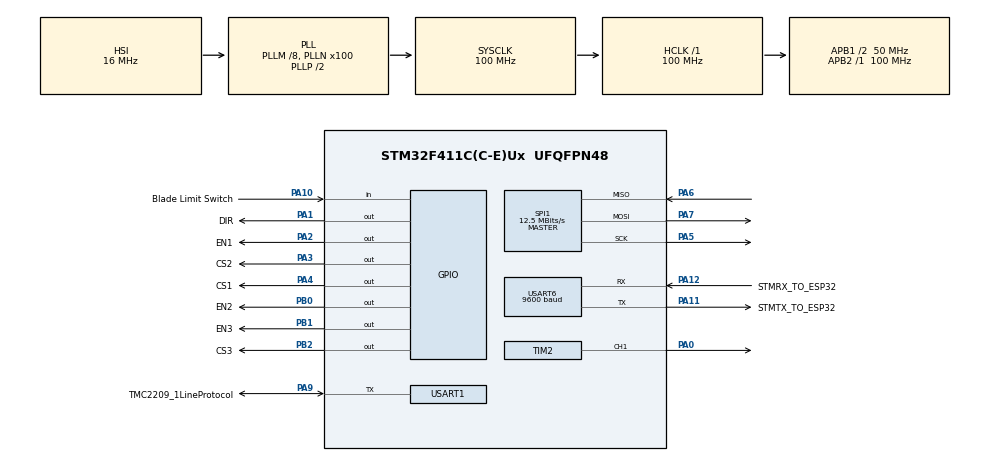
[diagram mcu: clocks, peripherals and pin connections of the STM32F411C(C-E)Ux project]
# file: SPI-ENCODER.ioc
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Mcu.Family=STM32F4
Mcu.Name=STM32F411C(C-E)Ux
Mcu.Package=UFQFPN48
NVIC.PriorityGroup=NVIC_PRIORITYGROUP_4
NVIC.TIM1_UP_TIM10_IRQn=true\:0\:0\:false\:false\:true\:true\:true\:true
NVIC.USART6_IRQn=true\:0\:0\:false\:false\:true\:true\:true\:true
PA0-WKUP.Signal=S_TIM2_CH1_ETR
PA1.GPIO_Label=DIR
PA1.GPIO_Speed=GPIO_SPEED_FREQ_HIGH
PA1.PinState=GPIO_PIN_SET
PA1.Signal=GPIO_Output
<<<<<<< HEAD
PA10.GPIO_Label=Limit Switch
=======
PA10.GPIO_Label=Blade Limit Switch
>>>>>>> cb64468c157c2692403ceb5eeb9bd4f485d256ad
PA10.GPIO_PuPd=GPIO_PULLUP
PA10.Signal=GPIO_Input
PA11.GPIO_Label=STMTX_TO_ESP32
PA11.Mode=Multiprocessor_communication
PA11.Signal=USART6_TX
PA12.GPIO_Label=STMRX_TO_ESP32
PA12.Mode=Multiprocessor_communication
PA12.Signal=USART6_RX
PA2.GPIO_Label=EN1
PA2.PinState=GPIO_PIN_SET
PA2.Signal=GPIO_Output
PA3.GPIO_Label=CS2
PA3.GPIO_Speed=GPIO_SPEED_FREQ_HIGH
PA3.PinState=GPIO_PIN_SET
PA3.Signal=GPIO_Output
PA4.GPIO_Label=CS1
PA4.GPIO_Speed=GPIO_SPEED_FREQ_HIGH
PA4.PinState=GPIO_PIN_SET
PA4.Signal=GPIO_Output
PA5.Mode=Full_Duplex_Master
PA5.Signal=SPI1_SCK
PA6.Mode=Full_Duplex_Master
PA6.Signal=SPI1_MISO
PA7.Mode=Full_Duplex_Master
PA7.Signal=SPI1_MOSI
PA9.GPIO_Label=TMC2209_1LineProtocol
PA9.GPIO_PuPd=GPIO_PULLUP
PA9.Mode=Half_duplex(single_wire_mode)
PA9.Signal=USART1_TX
PB0.GPIO_Label=EN2
PB0.PinState=GPIO_PIN_SET
PB0.Signal=GPIO_Output
PB1.GPIO_Label=EN3
PB1.PinState=GPIO_PIN_SET
PB1.Signal=GPIO_Output
PB2.GPIO_Label=CS3
PB2.GPIO_Speed=GPIO_SPEED_FREQ_HIGH
PB2.PinState=GPIO_PIN_SET
PB2.Signal=GPIO_Output
PH0\ -\ OSC_IN.Mode=HSE-External-Oscillator
PH0\ -\ OSC_IN.Signal=RCC_OSC_IN
PH1\ -\ OSC_OUT.Mode=HSE-External-Oscillator
PH1\ -\ OSC_OUT.Signal=RCC_OSC_OUT
ProjectManager.HeapSize=0x200
ProjectManager.StackSize=0x400
ProjectManager.TargetToolchain=STM32CubeIDE
RCC.48MHZClocksFreq_Value=50000000
RCC.AHBFreq_Value=100000000
RCC.APB1CLKDivider=RCC_HCLK_DIV2
RCC.APB1Freq_Value=50000000
RCC.APB1TimFreq_Value=100000000
RCC.APB2Freq_Value=100000000
RCC.APB2TimFreq_Value=100000000
RCC.CortexFreq_Value=100000000
RCC.HCLKFreq_Value=100000000
RCC.HSE_VALUE=25000000
RCC.HSI_VALUE=16000000
RCC.LSE_VALUE=32768
RCC.PLLM=8
RCC.PLLN=100
RCC.SYSCLKFreq_VALUE=100000000
RCC.SYSCLKSource=RCC_SYSCLKSOURCE_PLLCLK
RCC.VCOOutputFreq_Value=200000000
SH.S_TIM2_CH1_ETR.0=TIM2_CH1,PWM Generation1 CH1
SPI1.BaudRatePrescaler=SPI_BAUDRATEPRESCALER_8
SPI1.CLKPhase=SPI_PHASE_2EDGE
SPI1.CLKPolarity=SPI_POLARITY_HIGH
SPI1.CalculateBaudRate=12.5 MBits/s
SPI1.Direction=SPI_DIRECTION_2LINES
SPI1.Mode=SPI_MODE_MASTER
SPI1.VirtualType=VM_MASTER
TIM1.AutoReloadPreload=TIM_AUTORELOAD_PRELOAD_ENABLE
TIM1.Period=999
TIM1.Prescaler=99
TIM2.AutoReloadPreload=TIM_AUTORELOAD_PRELOAD_ENABLE
TIM2.Channel-PWM\ Generation1\ CH1=TIM_CHANNEL_1
TIM2.Period=65535
TIM2.Prescaler=99
USART1.VirtualMode=VM_ASYNC
USART6.BaudRate=9600
USART6.VirtualMode=VM_ASYNC
VP_TIM1_VS_ClockSourceINT.Mode=Internal
board=custom

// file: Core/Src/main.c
/* USER CODE BEGIN Header */
/**
  ******************************************************************************
  * @file           : main.c
  * @brief          : Main program body
  ******************************************************************************
  * @attention
  *
  * Copyright (c) 2026 STMicroelectronics.
  * All rights reserved.
  *
  * This software is licensed under terms that can be found in the LICENSE file
  * in the root directory of this software component.
  * If no LICENSE file comes with this software, it is provided AS-IS.
  *
  ******************************************************************************
  */
/* USER CODE END Header */
#include "main.h"
#include "spi.h"
#include "tim.h"
#include "usart.h"
#include "gpio.h"

/* USER CODE BEGIN Includes */
#include "PID.h"
#include "tmc2209.h"
#include "mt6816.h"
#include <math.h>
#include <stdbool.h>
#include <string.h>
#include <stdio.h>
#include <stdlib.h>
/* USER CODE END Includes */

/* USER CODE BEGIN PD */
<<<<<<< HEAD
#define WITHESP 0u
=======
/* TIM1: 100 MHz / (99+1) / (999+1) = 1 kHz control loop */
#define CONTROL_LOOP_HZ     1000.0f
#define CONTROL_LOOP_DT     (1.0f / CONTROL_LOOP_HZ)

/* TIM2 counts at 100 MHz / (99+1) = 1 MHz, so ARR = 1e6/step_freq - 1 */
#define STEP_TIMER_HZ       1000000U
#define STEP_FREQ_MAX       7500U    /* Upper step rate the mechanics tolerate */
#define STEP_FREQ_MIN       10U      /* Below this the motor is treated as stopped */
#define STEP_FREQ_HOMING    2000U    /* Open-loop speed while seeking a limit switch */

/* Motion tolerances */
/* Smallest error the step generator can still act on: below STEP_FREQ_MIN it
 * emits no pulses, so with output = Kp * error that floor sits at
 * STEP_FREQ_MIN / Kp = 10 / 15 = 0.67 deg. The deadband is set just above it
 * and the arrival test just above that, so a move always finishes inside the
 * band the controller has actually parked in. */
#define PID_DEADBAND_DEG    0.70f
#define POS_TOLERANCE_DEG   0.75f    /* Considered "arrived" within this error */
/* A move's allowance has to scale with its length: at STEP_FREQ_MAX the axis
 * covers roughly 844 deg/s, so a flat timeout would fail long feeds purely for
 * being long. The fixed part absorbs acceleration and settling. */
#define MOVE_TIMEOUT_BASE_MS 3000U
#define MOVE_DEG_PER_SEC     844.0f
#define MOVE_TIMEOUT_MS(deg) (MOVE_TIMEOUT_BASE_MS + (uint32_t)((deg) * (3000.0f / MOVE_DEG_PER_SEC)))
#define HOMING_TIMEOUT_MS   15000U   /* Guards against a dead or miswired switch */
#define DRIVER_WAKE_MS      2U       /* TMC2209 settle time after its EN goes low */

/* --- Blade geometry -------------------------------------------------------
 * PLACEHOLDER VALUES - these must be measured on the real machine before the
 * blade is allowed near a wire. Zero is the top (home) position and the blade
 * travels DOWN in the positive direction.
 *
 * Stripping only cuts through the insulation, so its depth is deliberately
 * shallower than a full cut. See TUNING.md for the measuring procedure.        */
#define BLADE_CUT_DEG       180.0f   /* Depth that severs the conductor */
#define BLADE_STRIP_DEG     120.0f   /* Depth that scores insulation only */
#define BLADE_RETRACT_DEG   0.0f     /* Fully retracted = the homed origin */
#define BLADE_SETTLE_MS     150U     /* Dwell at depth before retracting */

/* Wire pull-back after the head strip, so the jaws grip fresh insulation. */
#define STRIP_PULL_MM       8.0f

/* DIR polarity for a positive (increasing-position) move. Both axes share one
 * DIR line, so each names its own sense rather than assuming a common one.
 *   Rollers: HIGH turns counter-clockwise, pulling the wire in.
 *   Blade:   HIGH drives the blade down (positive = deeper). */
#define DIR_ROLLER_FORWARD  GPIO_PIN_SET
#define DIR_BLADE_DOWN      GPIO_PIN_SET
#define DIR_OPPOSITE(d)     (((d) == GPIO_PIN_SET) ? GPIO_PIN_RESET : GPIO_PIN_SET)

/* Motor selection: the rollers share one STEP/DIR pair and are enabled
 * together, while the blade is driven alone on the same pair. */
typedef enum {
    DRIVE_NONE = 0,
    DRIVE_ROLLERS,   /* M1 + M2 enabled together, both follow PA0/PA1 */
    DRIVE_BLADE      /* M3 alone */
} DriveTarget_t;
>>>>>>> cb64468c157c2692403ceb5eeb9bd4f485d256ad
/* USER CODE END PD */

/* USER CODE BEGIN PV */
typedef enum {
    STATE_IDLE,
    STATE_HOMING_BLADE,  /* Blade retracts to its top stop and defines zero */
    STATE_FEEDING,       /* Closed-loop wire advance */
    STATE_STRIP_HEAD,    /* Score the insulation near the leading end */
    STATE_STRIP_TAIL,    /* Score the insulation at the trailing end */
    STATE_CUTTING,       /* Sever the conductor */
    STATE_ERROR
} SystemState_t;

volatile SystemState_t current_state = STATE_IDLE;

/* Job Tracking */
volatile int job_qty = 0;
volatile int current_piece = 0;
volatile float job_length_mm = 0.0f;
volatile float target_angle_deg = 0.0f;
volatile float current_pos_deg = 0.0f;
/* Shaft rotation per millimetre of wire, from the roller's circumference:
 *   360 / (pi * 30 mm) = 3.8197 deg/mm
 * With a NEMA 17 (1.8 deg/step) at 1/16 microstepping the feed resolves to
 * 0.029 mm per microstep, and the MT6816 reads back 0.006 mm per count, so
 * the encoder is finer than the step the motor can take.
 * Re-measure this if the rollers are ever changed - see TUNING.md. */
const float DEG_PER_MM = 3.8197f;

/* Hardware Objects
 * motor_1 / motor_2 are the front and rear feed rollers. They share the STEP
 * and DIR lines and are enabled together, so only the front roller carries an
 * encoder - the rear one mirrors its motion.
 * motor_3 drives the blade and has its own encoder on CS2 (PA3). */
TMC2209_t motor_1, motor_2, motor_3;
MT6816_t encoder_roller, encoder_blade;
PID_Controller_t pid_roller, pid_blade;

volatile DriveTarget_t active_target = DRIVE_NONE;

/* Set while a routine drives the step generator directly (homing). The 1 kHz
 * loop stands down for the duration: it would otherwise fight for the DIR pin
 * and the timer registers, and during homing its position reference is not
 * even valid yet. */
volatile bool open_loop_active = false;
volatile MT6816_Status encoder_status = MT6816_OK;
volatile bool step_pwm_running = false;
volatile uint32_t encoder_error_count = 0;

/* Blade position, tracked continuously by the same 1 kHz loop. */
volatile float blade_target_deg = 0.0f;
volatile float blade_pos_deg = 0.0f;

/* ESP32 UART Buffer */
uint8_t rx_byte;
char rx_buffer[128];
volatile uint8_t rx_index = 0;
volatile bool msg_received = false;

//button
volatile bool buttonstate;
/* USER CODE END PV */

void SystemClock_Config(void);
/* USER CODE BEGIN PFP */
void Control_Loop_1kHz(void);
static void Step_SetFrequency(uint32_t step_freq);
static void Step_Stop(void);
void Select_Drive_Target(DriveTarget_t target);
static bool Wait_For_Move(volatile float *target_deg, volatile float *pos_deg);
static bool Blade_MoveTo(float depth_deg);
static bool Home_Blade(void);
static bool Feed_Wire_mm(float distance_mm);
static bool Blade_Stroke(float depth_deg);
static void Report_State(const char *name);
/* USER CODE END PFP */

/* USER CODE BEGIN 0 */
void Send_ESP32_Msg(const char *msg) {
    HAL_UART_Transmit(&huart6, (uint8_t*)msg, strlen(msg), 100);
}

void HAL_UART_RxCpltCallback(UART_HandleTypeDef *huart) {
    if (huart->Instance == USART6) {
        if (rx_byte == '\n' || rx_byte == '\r') {
            if (rx_index > 0) {
                rx_buffer[rx_index] = '\0';
                msg_received = true;
                rx_index = 0;
            }
        } else if (rx_index < sizeof(rx_buffer) - 1) {
            rx_buffer[rx_index++] = rx_byte;
        }
        HAL_UART_Receive_IT(&huart6, &rx_byte, 1);
    }
}

void HAL_UART_ErrorCallback(UART_HandleTypeDef *huart) {
    if (huart->Instance == USART6) {
        __HAL_UART_CLEAR_OREFLAG(huart);
        HAL_UART_Receive_IT(&huart6, &rx_byte, 1);
    }
}

void Process_ESP32_Message(void) {
    if (strstr(rx_buffer, "\"command\":\"abort\"")) {
        current_state = STATE_IDLE;
        Step_Stop();
        Select_Drive_Target(DRIVE_NONE);
        Send_ESP32_Msg("{\"state\":\"IDLE\"}\n");
    }
    else if (strstr(rx_buffer, "\"quantity\":")) {
        char *ptr_qty = strstr(rx_buffer, "\"quantity\":");
        char *ptr_len = strstr(rx_buffer, "\"total_length\":");
        if (ptr_qty) job_qty = atoi(ptr_qty + 11);
        if (ptr_len) job_length_mm = atof(ptr_len + 15);
        current_piece = 0;
        /* Home the blade before the rollers so it is clear of the wire path. */
        current_state = STATE_HOMING_BLADE;
    }
    msg_received = false;
}

/* Routes the shared STEP/DIR pair to one group of drivers.
 *
 * Both rollers are enabled at once so they receive the identical pulse train
 * and stay mechanically in sync - the wire would stretch or buckle if only one
 * of them turned. The blade is enabled alone because it must move independently
 * of the feed. Enabling everything at once is never valid. */
void Select_Drive_Target(DriveTarget_t target) {
    if (active_target == target) return;

    /* Park the step generator before rerouting it, so no driver picks up a
     * pulse that was meant for another axis. */
    Step_Stop();

    /* Disable all drivers by driving EN pins HIGH (they are active LOW) */
    HAL_GPIO_WritePin(EN1_GPIO_Port, EN1_Pin, GPIO_PIN_SET);
    HAL_GPIO_WritePin(EN2_GPIO_Port, EN2_Pin, GPIO_PIN_SET);
    HAL_GPIO_WritePin(EN3_GPIO_Port, EN3_Pin, GPIO_PIN_SET);

    switch (target) {
        case DRIVE_ROLLERS:
            HAL_GPIO_WritePin(EN1_GPIO_Port, EN1_Pin, GPIO_PIN_RESET);
            HAL_GPIO_WritePin(EN2_GPIO_Port, EN2_Pin, GPIO_PIN_RESET);
            break;
        case DRIVE_BLADE:
            HAL_GPIO_WritePin(EN3_GPIO_Port, EN3_Pin, GPIO_PIN_RESET);
            break;
        case DRIVE_NONE:
        default:
            break;
    }

    active_target = target;

    /* A TMC2209 needs a moment after its enable line drops before it will
     * track step pulses reliably; stepping immediately can lose position. */
    if (target != DRIVE_NONE) HAL_Delay(DRIVER_WAKE_MS);
}
/* USER CODE END 0 */

int main(void)
{

  /* MCU Configuration--------------------------------------------------------*/

  /* Reset of all peripherals, Initializes the Flash interface and the Systick. */
  HAL_Init();

  /* Configure the system clock */
  SystemClock_Config();

  /* Initialize all configured peripherals */
  MX_GPIO_Init();
  MX_SPI1_Init();
  MX_USART1_UART_Init();
  MX_TIM1_Init();
  MX_TIM2_Init();
  MX_USART6_UART_Init();
  /* USER CODE BEGIN 2 */
  /* 1. Encoders: CS1 (PA4) reads the front feed roller, CS2 (PA3) the blade. */
  MT6816_Init(&encoder_roller, &hspi1, CS1_GPIO_Port, CS1_Pin);
  MT6816_Init(&encoder_blade,  &hspi1, CS2_GPIO_Port, CS2_Pin);

  /* 2. Configure all three TMC2209 drivers over the shared single-wire UART.
   * Each has its own node address set by its MS1/MS2 strapping. */
  TMC2209_Init(&motor_1, &huart1, 0);
  TMC2209_Init(&motor_2, &huart1, 1);
  TMC2209_Init(&motor_3, &huart1, 2);

  /* 3. Initialize PID controllers.
   *
   * The deadband must cover every error the step generator cannot act on.
   * Below STEP_FREQ_MIN no pulses are emitted, so any error smaller than
   * STEP_FREQ_MIN/Kp is unactuatable - treating it as zero stops the
   * integrator from charging against an error the motor can never clear. */
  PID_Init(&pid_roller, 15.0f, 0.5f, 0.08f, -20000.0f, 20000.0f);
  PID_Init(&pid_blade,  15.0f, 0.5f, 0.08f, -20000.0f, 20000.0f);
  pid_roller.deadband = PID_DEADBAND_DEG;
  pid_blade.deadband  = PID_DEADBAND_DEG;

  /* 4. The rollers only ever turn - there is no home position to seek - so
   * wherever the shaft sits at power-on becomes zero and every feed is
   * measured relative to it. Seeding the tracker here means the very first
   * feed starts from a known reference instead of a stale one. */
  {
      float raw_deg = 0.0f;
      if (MT6816_ReadDegrees(&encoder_roller, &raw_deg) == MT6816_OK) {
          pid_roller.last_raw_angle_deg    = raw_deg;
          pid_roller.accumulated_angle_deg = 0.0f;
          pid_roller.is_initialized        = true;
          pid_roller.prev_feedback         = 0.0f;
      }
  }

  /* 5. Start 1 kHz Control Loop Timer and UART RX */
  HAL_TIM_Base_Start_IT(&htim1);
  HAL_UART_Receive_IT(&huart6, &rx_byte, 1);

  /* USER CODE END 2 */

  /* Infinite loop */
  /* USER CODE BEGIN WHILE */
  while (1)
  {
#if WITHESP
	  if (msg_received) {
	            Process_ESP32_Message();
	        }

	        switch (current_state) {
	            case STATE_IDLE:
	                break;

<<<<<<< HEAD
	            case STATE_HOMING:
	                Send_ESP32_Msg("{\"state\":\"HOMING\"}\n");
	                active_motor_id = 1;
	                Select_Active_Motor(1);

	                /* Run open-loop towards the limit switch */
	                HAL_GPIO_WritePin(GPIOA, GPIO_PIN_1, GPIO_PIN_RESET);
	                TIM2->ARR = (1000000U / 2000) - 1U;
	                TIM2->CCR1 = TIM2->ARR / 2;
	                HAL_TIM_PWM_Start(&htim2, TIM_CHANNEL_1);

	                /* Wait until limit switch on PA10 triggers (Active LOW) */
	                while (HAL_GPIO_ReadPin(GPIOA, GPIO_PIN_10) == GPIO_PIN_RESET) {
	                    if (msg_received) {
	                        Process_ESP32_Message();
	                        break;
	                    }
=======
	            /* Blade is homed first: it must be clear of the wire path
	             * before any wire is pushed through. */
	            case STATE_HOMING_BLADE:
	                if (Home_Blade()) {
	                    Send_ESP32_Msg("{\"state\":\"RUNNING\",\"pg\":0}\n");
	                    current_state = STATE_FEEDING;
>>>>>>> cb64468c157c2692403ceb5eeb9bd4f485d256ad
	                }
	                break;

	            /* One piece: feed -> strip head -> feed -> strip tail -> cut. */
	            case STATE_FEEDING:
	                if (current_piece >= job_qty) {
	                    Send_ESP32_Msg("{\"done\":true}\n");
	                    current_state = STATE_IDLE;
	                    Select_Drive_Target(DRIVE_NONE);
	                    break;
	                }

	                /* Present the leading end to the blade. */
	                if (!Feed_Wire_mm(STRIP_PULL_MM)) break;
	                current_state = STATE_STRIP_HEAD;
	                break;

	            case STATE_STRIP_HEAD:
	                Report_State("STRIP_HEAD");
	                if (!Blade_Stroke(BLADE_STRIP_DEG)) break;

	                /* Advance the full piece length before the tail strip. */
	                if (!Feed_Wire_mm(job_length_mm)) break;
	                current_state = STATE_STRIP_TAIL;
	                break;

	            case STATE_STRIP_TAIL:
	                Report_State("STRIP_TAIL");
	                if (!Blade_Stroke(BLADE_STRIP_DEG)) break;
	                current_state = STATE_CUTTING;
	                break;

	            case STATE_CUTTING:
	                Report_State("CUTTING");
	                if (!Blade_Stroke(BLADE_CUT_DEG)) break;

	                current_piece++;
	                char pg_msg[32];
	                snprintf(pg_msg, sizeof(pg_msg), "{\"pg\":%d}\n", current_piece);
	                Send_ESP32_Msg(pg_msg);

	                current_state = STATE_FEEDING;
	                break;

	            case STATE_ERROR:
	                Step_Stop();
	                Select_Drive_Target(DRIVE_NONE);
	                Send_ESP32_Msg("{\"error\":\"motion fault - check wire path and limit switches\"}\n");
	                current_state = STATE_IDLE;
	                break;
	        }
#endif

	        			HAL_GPIO_WritePin(DIR_GPIO_Port, DIR_Pin, 1),
	        buttonstate = HAL_GPIO_ReadPin(Limit_Switch_GPIO_Port, Limit_Switch_Pin);
	        	        Select_Active_Motor(1);
	        	        /* TIM2 clock after prescaler is 1 MHz */
	        	        uint32_t arr_val = (1000000U / 2000) - 1U;

	        	        __HAL_TIM_SET_AUTORELOAD(&htim2, arr_val);
	        	        __HAL_TIM_SET_COMPARE(&htim2, TIM_CHANNEL_1, (arr_val + 1U) / 2U);

	        	        HAL_TIM_PWM_Start(&htim2, TIM_CHANNEL_1);
	        	        HAL_Delay(5000);
	        	        HAL_TIM_PWM_Stop(&htim2, TIM_CHANNEL_1);
	        	        Select_Active_Motor(2);
	        	        HAL_TIM_PWM_Start(&htim2, TIM_CHANNEL_1);
	        	        HAL_Delay(5000);
	        	        HAL_TIM_PWM_Stop(&htim2, TIM_CHANNEL_1);

    /* USER CODE END WHILE */

  }
}

void SystemClock_Config(void)
{
  RCC_OscInitTypeDef RCC_OscInitStruct = {0};
  RCC_ClkInitTypeDef RCC_ClkInitStruct = {0};

  /** Configure the main internal regulator output voltage
  */
  __HAL_RCC_PWR_CLK_ENABLE();
  __HAL_PWR_VOLTAGESCALING_CONFIG(PWR_REGULATOR_VOLTAGE_SCALE1);

  /** Initializes the RCC Oscillators according to the specified parameters
  * in the RCC_OscInitTypeDef structure.
  */
  RCC_OscInitStruct.OscillatorType = RCC_OSCILLATORTYPE_HSI;
  RCC_OscInitStruct.HSIState = RCC_HSI_ON;
  RCC_OscInitStruct.HSICalibrationValue = RCC_HSICALIBRATION_DEFAULT;
  RCC_OscInitStruct.PLL.PLLState = RCC_PLL_ON;
  RCC_OscInitStruct.PLL.PLLSource = RCC_PLLSOURCE_HSI;
  RCC_OscInitStruct.PLL.PLLM = 8;
  RCC_OscInitStruct.PLL.PLLN = 100;
  RCC_OscInitStruct.PLL.PLLP = RCC_PLLP_DIV2;
  RCC_OscInitStruct.PLL.PLLQ = 4;
  if (HAL_RCC_OscConfig(&RCC_OscInitStruct) != HAL_OK)
  {
    Error_Handler();
  }

  /** Initializes the CPU, AHB and APB buses clocks
  */
  RCC_ClkInitStruct.ClockType = RCC_CLOCKTYPE_HCLK|RCC_CLOCKTYPE_SYSCLK
                              |RCC_CLOCKTYPE_PCLK1|RCC_CLOCKTYPE_PCLK2;
  RCC_ClkInitStruct.SYSCLKSource = RCC_SYSCLKSOURCE_PLLCLK;
  RCC_ClkInitStruct.AHBCLKDivider = RCC_SYSCLK_DIV1;
  RCC_ClkInitStruct.APB1CLKDivider = RCC_HCLK_DIV2;
  RCC_ClkInitStruct.APB2CLKDivider = RCC_HCLK_DIV1;

  if (HAL_RCC_ClockConfig(&RCC_ClkInitStruct, FLASH_LATENCY_3) != HAL_OK)
  {
    Error_Handler();
  }
}

/* USER CODE BEGIN 4 */
<<<<<<< HEAD
#if WITHESP
void HAL_TIM_PeriodElapsedCallback(TIM_HandleTypeDef *htim)
{
    if (htim->Instance == TIM1) {
        /* Suspend PID control during Homing and Idle states */

    	if (current_state != STATE_FEEDING && current_state != STATE_CUTTING) {
            return;
        }

        float raw_deg = 0.0f;
        float step_velocity = 0.0f;

        if (active_motor_id == 1) {
            encoder_status = MT6816_ReadDegrees(&encoder_1, &raw_deg);
            if (encoder_status == MT6816_OK) {
                current_pos_deg = PID_UnwrapAngle(&pid_1, raw_deg);
                step_velocity = PID_Update(&pid_1, target_angle_deg, current_pos_deg, 0.001f);
            }
        } else if (active_motor_id == 2) {
            encoder_status = MT6816_ReadDegrees(&encoder_2, &raw_deg);
            if (encoder_status == MT6816_OK) {
                current_pos_deg = PID_UnwrapAngle(&pid_2, raw_deg);
                step_velocity = PID_Update(&pid_2, target_angle_deg, current_pos_deg, 0.001f);
            }
        }

        /* Deadband stop */
        if (fabsf(step_velocity) < 10.0f || encoder_status != MT6816_OK) {
            HAL_TIM_PWM_Stop(&htim2, TIM_CHANNEL_1);
            return;
        }

        /* Direction logic: RESET = forward positive feedback correction */
        if (step_velocity > 0) {
            HAL_GPIO_WritePin(GPIOA, GPIO_PIN_1, GPIO_PIN_RESET);
        } else {
            HAL_GPIO_WritePin(GPIOA, GPIO_PIN_1, GPIO_PIN_SET);
        }

        /* Map velocity to ARR frequency */
        uint32_t step_freq = (uint32_t)fabsf(step_velocity);
        if (step_freq > 7500) step_freq = 7500;

        uint32_t arr_val = (1000000U / step_freq) - 1U;

        __HAL_TIM_SET_AUTORELOAD(&htim2, arr_val);
        __HAL_TIM_SET_COMPARE(&htim2, TIM_CHANNEL_1, (arr_val + 1U) / 2U);

        HAL_TIM_PWM_Start(&htim2, TIM_CHANNEL_1);
    }
}
#endif
=======

/* --- Step generator helpers (TIM2 CH1) ------------------------------------ */

/* Sets the STEP pulse train frequency. The PWM peripheral is only started once
 * and then re-tuned in place; restarting it every loop would truncate pulses. */
static void Step_SetFrequency(uint32_t step_freq)
{
    if (step_freq > STEP_FREQ_MAX) step_freq = STEP_FREQ_MAX;
    if (step_freq < STEP_FREQ_MIN) step_freq = STEP_FREQ_MIN;

    uint32_t arr_val = (STEP_TIMER_HZ / step_freq) - 1U;
    if (arr_val > 65535U) arr_val = 65535U;
    if (arr_val < 2U)     arr_val = 2U;

    /* ARR and CCR1 are both preloaded (ARPE is enabled in MX_TIM2_Init, and
     * HAL_TIM_PWM_ConfigChannel sets OC1PE), so these two writes land in
     * shadow registers and take effect together at the next update event.
     *
     * That pairing is the point. With ARR unbuffered and CCR1 buffered - the
     * CubeMX default - the two would apply one cycle apart: shrinking ARR
     * takes effect immediately while the old, now-larger CCR1 stays live for
     * one more period, so the compare never fires and the output sits HIGH
     * for a whole cycle. The driver sees no rising edge and silently drops
     * that step. Letting the hardware swap both at once also means the pulse
     * currently in flight finishes intact, so no step is ever truncated.
     *
     * The cost is that a change waits out the current period - at the speeds
     * the machine actually runs (>= 500 Hz) that is under 2 ms, well inside
     * the control loop's tolerance. */
    TIM2->ARR  = arr_val;
    TIM2->CCR1 = arr_val / 2U;   /* 50 % duty */

    if (!step_pwm_running) {
        /* Nothing is running, so there is no in-flight pulse to protect and
         * no update event coming to load the shadow registers. Generate one
         * by hand so the first pulse uses this frequency instead of whatever
         * the previous move left in the active registers. */
        TIM2->EGR = TIM_EGR_UG;
        HAL_TIM_PWM_Start(&htim2, TIM_CHANNEL_1);
        step_pwm_running = true;
    }
}

static void Step_Stop(void)
{
    if (step_pwm_running) {
        HAL_TIM_PWM_Stop(&htim2, TIM_CHANNEL_1);
        step_pwm_running = false;
    }
}

/* --- 1 kHz closed-loop control -------------------------------------------- */

/* Runs once per TIM1 update event (1 kHz). Reads the encoder belonging to
 * whichever axis currently owns the STEP/DIR pair, updates its PID controller
 * and converts the result into a step frequency.
 *
 * Only one axis is ever live: the rollers move together as one unit, or the
 * blade moves alone. The axis that is not selected has its driver disabled and
 * simply holds position. */
void Control_Loop_1kHz(void)
{
    /* An open-loop routine owns the step generator right now. */
    if (open_loop_active) return;

    MT6816_t         *encoder;
    PID_Controller_t *pid;
    volatile float   *pos_out;
    float             setpoint;
    GPIO_PinState     dir_positive;

    switch (active_target) {
        case DRIVE_ROLLERS:
            encoder      = &encoder_roller;
            pid          = &pid_roller;
            pos_out      = &current_pos_deg;
            setpoint     = target_angle_deg;
            dir_positive = DIR_ROLLER_FORWARD;
            break;

        case DRIVE_BLADE:
            encoder      = &encoder_blade;
            pid          = &pid_blade;
            pos_out      = &blade_pos_deg;
            setpoint     = blade_target_deg;
            dir_positive = DIR_BLADE_DOWN;
            break;

        default:
            /* Nothing selected (idle, or homing runs open-loop). */
            return;
    }

    float raw_deg = 0.0f;
    encoder_status = MT6816_ReadDegrees(encoder, &raw_deg);

    if (encoder_status != MT6816_OK) {
        /* Never keep stepping blind: a bad read means the position is unknown. */
        Step_Stop();
        if (++encoder_error_count > 50) {   /* 50 ms of continuous failure */
            current_state = STATE_ERROR;
        }
        return;
    }
    encoder_error_count = 0;

    *pos_out = PID_UnwrapAngle(pid, raw_deg);
    float step_velocity = PID_Update(pid, setpoint, *pos_out, CONTROL_LOOP_DT);

    uint32_t step_freq = (uint32_t)fabsf(step_velocity);

    /* Deadband stop: below the minimum step rate the motor just holds. */
    if (step_freq < STEP_FREQ_MIN) {
        Step_Stop();
        return;
    }

    /* A positive output means "increase position", which is forward for the
     * rollers and downward for the blade. */
    HAL_GPIO_WritePin(DIR_GPIO_Port, DIR_Pin,
                      (step_velocity > 0.0f) ? dir_positive
                                             : DIR_OPPOSITE(dir_positive));

    Step_SetFrequency(step_freq);
}

void HAL_TIM_PeriodElapsedCallback(TIM_HandleTypeDef *htim)
{
    if (htim->Instance == TIM1) {
        Control_Loop_1kHz();
    }
}

/* --- Motion sequencing helpers -------------------------------------------- */

static void Report_State(const char *name)
{
    char msg[48];
    snprintf(msg, sizeof(msg), "{\"state\":\"%s\"}\n", name);
    Send_ESP32_Msg(msg);
}

/* Blocks until the closed-loop axis settles on its target, an abort arrives,
 * or the move overruns. Returns false if the move did not complete. */
static bool Wait_For_Move(volatile float *target_deg, volatile float *pos_deg)
{
    uint32_t start_time = HAL_GetTick();
    uint32_t timeout_ms = MOVE_TIMEOUT_MS(fabsf(*target_deg - *pos_deg));

    while (fabsf(*target_deg - *pos_deg) > POS_TOLERANCE_DEG) {
        if (msg_received) {
            Process_ESP32_Message();
            if (current_state == STATE_IDLE) return false;   /* aborted */
        }
        if (current_state == STATE_ERROR) return false;      /* raised by the ISR */
        if (HAL_GetTick() - start_time > timeout_ms) {
            current_state = STATE_ERROR;
            return false;
        }
    }
    return true;
}

/* Drives the blade to an absolute depth measured from the homed top position. */
static bool Blade_MoveTo(float depth_deg)
{
    Select_Drive_Target(DRIVE_BLADE);
    blade_target_deg = depth_deg;
    PID_SetTarget(&pid_blade, depth_deg);
    return Wait_For_Move(&blade_target_deg, &blade_pos_deg);
}

/* Retracts the blade open-loop until it presses its top limit switch (PA10),
 * then declares that point to be zero. Homing must run open-loop because the
 * absolute position is unknown until the switch is found.
 *
 * This is the only homing the machine does: the feed rollers have no reference
 * position, they simply turn, and their count is relative to power-on. */
static bool Home_Blade(void)
{
    Report_State("HOMING_BLADE");
    Select_Drive_Target(DRIVE_BLADE);

    /* Take the step generator before the first write: the blade's zero is not
     * established yet, so the closed loop has nothing meaningful to track. */
    open_loop_active = true;

    /* Retracting is the opposite of the blade's downward direction. */
    HAL_GPIO_WritePin(DIR_GPIO_Port, DIR_Pin, DIR_OPPOSITE(DIR_BLADE_DOWN));
    Step_SetFrequency(STEP_FREQ_HOMING);

    uint32_t start_time = HAL_GetTick();
    while (HAL_GPIO_ReadPin(Blade_Limit_GPIO_Port, Blade_Limit_Pin) == GPIO_PIN_SET) {
        if (msg_received) {
            Process_ESP32_Message();
            if (current_state == STATE_IDLE) {
                Step_Stop();
                open_loop_active = false;
                return false;
            }
        }
        /* A switch that never closes would otherwise drive the blade into its
         * end stop forever. */
        if (HAL_GetTick() - start_time > HOMING_TIMEOUT_MS) {
            Step_Stop();
            open_loop_active = false;
            current_state = STATE_ERROR;
            return false;
        }
    }
    Step_Stop();
    HAL_Delay(200);   /* Let the mechanism stop ringing before sampling */

    float raw_deg = 0.0f;
    if (MT6816_ReadDegrees(&encoder_blade, &raw_deg) != MT6816_OK) {
        open_loop_active = false;
        current_state = STATE_ERROR;
        return false;
    }

    /* Define this point as zero without disturbing the multi-turn tracking. */
    PID_Reset(&pid_blade);
    pid_blade.last_raw_angle_deg   = raw_deg;
    pid_blade.accumulated_angle_deg = 0.0f;
    pid_blade.is_initialized       = true;
    pid_blade.prev_feedback        = 0.0f;

    blade_pos_deg    = 0.0f;
    blade_target_deg = 0.0f;
    encoder_error_count = 0;

    /* Origin is established and the target matches the current position, so
     * the closed loop can take over without commanding a jump. */
    open_loop_active = false;
    return true;
}

/* Feeds the wire a relative distance in millimetres, closed-loop. */
static bool Feed_Wire_mm(float distance_mm)
{
    Select_Drive_Target(DRIVE_ROLLERS);
    target_angle_deg += (distance_mm * DEG_PER_MM);
    PID_SetTarget(&pid_roller, target_angle_deg);
    return Wait_For_Move(&target_angle_deg, &current_pos_deg);
}

/* Plunges the blade to a depth, dwells, then retracts to the home position. */
static bool Blade_Stroke(float depth_deg)
{
    if (!Blade_MoveTo(depth_deg)) return false;
    HAL_Delay(BLADE_SETTLE_MS);
    if (!Blade_MoveTo(BLADE_RETRACT_DEG)) return false;
    return true;
}

>>>>>>> cb64468c157c2692403ceb5eeb9bd4f485d256ad
/* USER CODE END 4 */

void Error_Handler(void)
{
  __disable_irq();
  while (1)
  {
  }
}
